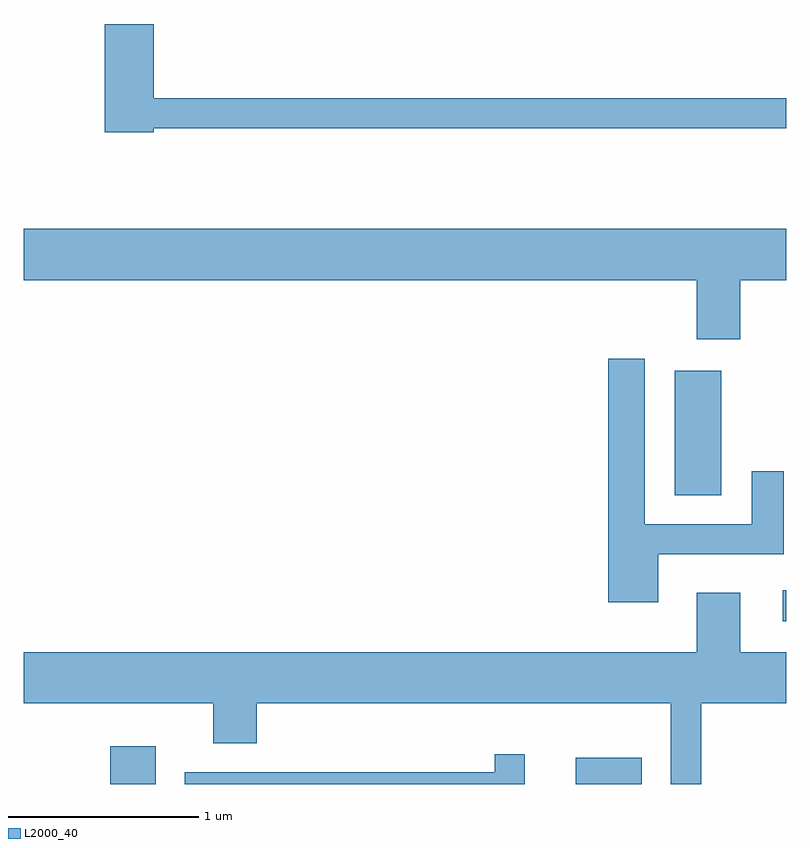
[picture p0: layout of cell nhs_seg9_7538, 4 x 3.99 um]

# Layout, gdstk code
import gdstk
lib = gdstk.Library(unit=1e-6, precision=1e-09)
def R(c, l, rs):  # rectangles x0, y0, x1, y1
    for r in rs: c.add(gdstk.rectangle(r[:2], r[2:], *l))
def P(c, l, *ps):  # polygons
    for p in ps: c.add(gdstk.Polygon(p, *l))
L2000_40 = (2000, 40)

nhs_seg9_7538 = lib.new_cell('nhs_seg9_7538')
R(nhs_seg9_7538, L2000_40, [(408.066,2062.432,408.304,2062.629), (410.506,2062.432,410.854,2062.569), (411.593,2063.286,411.611,2063.449), (411.026,2063.946,411.269,2064.599)])
P(nhs_seg9_7538, L2000_40, [(408.294,2065.871),(411.611,2065.871),(411.611,2066.029),(408.294,2066.029),(408.294,2066.419),(408.036,2066.419),(408.036,2065.851),(408.294,2065.851)],
  [(411.369,2065.076),(411.611,2065.076),(411.611,2065.344),(407.611,2065.344),(407.611,2065.076),(411.141,2065.076),(411.141,2064.766),(411.369,2064.766)],
  [(410.939,2063.636),(411.599,2063.636),(411.599,2064.073),(411.431,2064.073),(411.431,2063.794),(410.869,2063.794),(410.869,2064.664),(410.676,2064.664),(410.676,2063.386),(410.939,2063.386)],
  [(411.164,2062.856),(411.611,2062.856),(411.611,2063.124),(411.369,2063.124),(411.369,2063.434),(411.141,2063.434),(411.141,2063.124),(407.611,2063.124),(407.611,2062.856),(408.606,2062.856),(408.606,2062.646),(408.834,2062.646),(408.834,2062.856),(411.006,2062.856),(411.006,2062.432),(411.164,2062.432)],
  [(410.239,2062.588),(410.081,2062.588),(410.081,2062.494),(408.456,2062.494),(408.456,2062.432),(410.239,2062.432)])

lib.write_gds('nhs_seg9_7538.gds')
